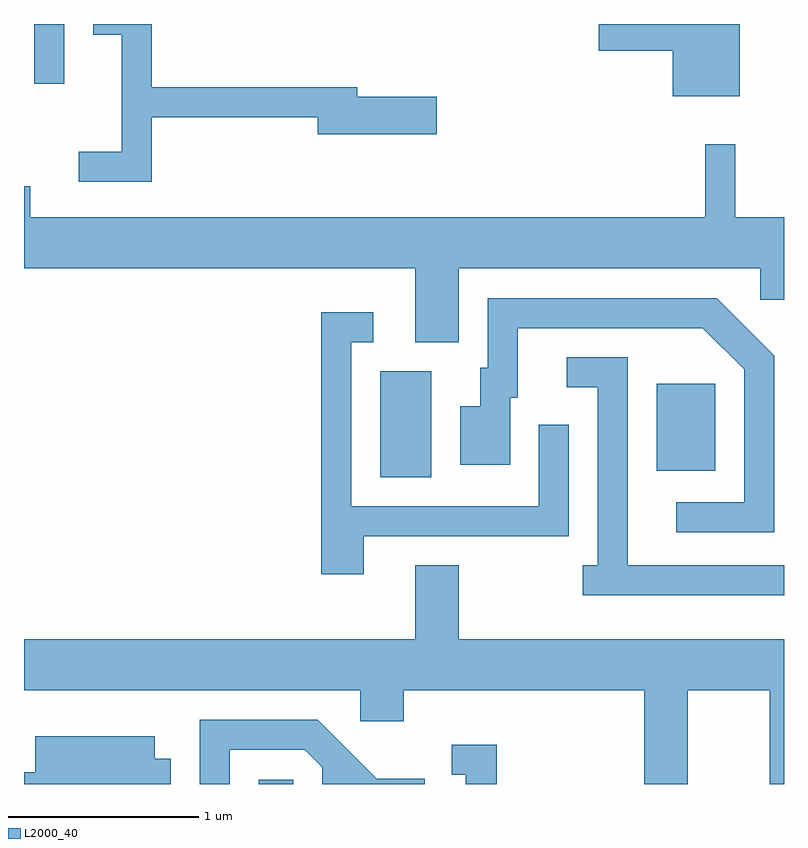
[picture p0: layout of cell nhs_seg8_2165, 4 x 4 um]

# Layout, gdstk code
import gdstk
lib = gdstk.Library(unit=1e-6, precision=1e-09)
def R(c, l, rs):  # rectangles x0, y0, x1, y1
    for r in rs: c.add(gdstk.rectangle(r[:2], r[2:], *l))
def P(c, l, *ps):  # polygons
    for p in ps: c.add(gdstk.Polygon(p, *l))
L2000_40 = (2000, 40)

nhs_seg8_2165 = lib.new_cell('nhs_seg8_2165')
R(nhs_seg8_2165, L2000_40, [(250.846,1860.342,251.029,1860.364), (251.486,1861.956,251.754,1862.514), (252.941,1861.991,253.249,1862.449), (249.666,1864.028,249.824,1864.342)])
P(nhs_seg8_2165, L2000_40, [(253.379,1864.342),(252.636,1864.342),(252.636,1864.201),(253.026,1864.201),(253.026,1863.961),(253.379,1863.961)],
  [(250.284,1863.851),(251.156,1863.851),(251.156,1863.761),(251.784,1863.761),(251.784,1863.959),(251.364,1863.959),(251.364,1864.009),(250.284,1864.009),(250.284,1864.342),(249.976,1864.342),(249.976,1864.286),(250.126,1864.286),(250.126,1863.669),(249.898,1863.669),(249.898,1863.511),(250.284,1863.511)],
  [(251.899,1863.056),(253.486,1863.056),(253.486,1862.891),(253.611,1862.891),(253.611,1863.324),(253.354,1863.324),(253.354,1863.708),(253.196,1863.708),(253.196,1863.324),(249.644,1863.324),(249.644,1863.489),(249.611,1863.489),(249.611,1863.056),(251.671,1863.056),(251.671,1862.666),(251.899,1862.666)],
  [(253.559,1862.597),(253.257,1862.899),(252.051,1862.899),(252.051,1862.534),(252.011,1862.534),(252.011,1862.329),(251.906,1862.329),(251.906,1862.021),(252.169,1862.021),(252.169,1862.376),(252.209,1862.376),(252.209,1862.741),(253.184,1862.741),(253.401,1862.524),(253.401,1861.824),(253.043,1861.824),(253.043,1861.666),(253.559,1861.666)],
  [(251.399,1861.646),(252.479,1861.646),(252.479,1862.233),(252.321,1862.233),(252.321,1861.804),(251.334,1861.804),(251.334,1862.666),(251.448,1862.666),(251.448,1862.824),(251.176,1862.824),(251.176,1861.446),(251.399,1861.446)],
  [(253.611,1861.494),(252.789,1861.494),(252.789,1862.589),(252.468,1862.589),(252.468,1862.431),(252.631,1862.431),(252.631,1861.494),(252.553,1861.494),(252.553,1861.336),(253.611,1861.336)],
  [(253.104,1860.836),(253.536,1860.836),(253.536,1860.342),(253.611,1860.342),(253.611,1861.104),(251.899,1861.104),(251.899,1861.494),(251.671,1861.494),(251.671,1861.104),(249.611,1861.104),(249.611,1860.836),(251.381,1860.836),(251.381,1860.671),(251.609,1860.671),(251.609,1860.836),(252.876,1860.836),(252.876,1860.342),(253.104,1860.342)],
  [(250.694,1860.521),(251.089,1860.521),(251.181,1860.429),(251.181,1860.342),(251.719,1860.342),(251.719,1860.369),(251.467,1860.369),(251.157,1860.679),(250.536,1860.679),(250.536,1860.342),(250.694,1860.342)],
  [(250.384,1860.474),(250.299,1860.474),(250.299,1860.594),(249.671,1860.594),(249.671,1860.404),(249.611,1860.404),(249.611,1860.342),(250.384,1860.342)],
  [(252.099,1860.549),(251.863,1860.549),(251.863,1860.391),(251.936,1860.391),(251.936,1860.342),(252.099,1860.342)])

lib.write_gds('nhs_seg8_2165.gds')
